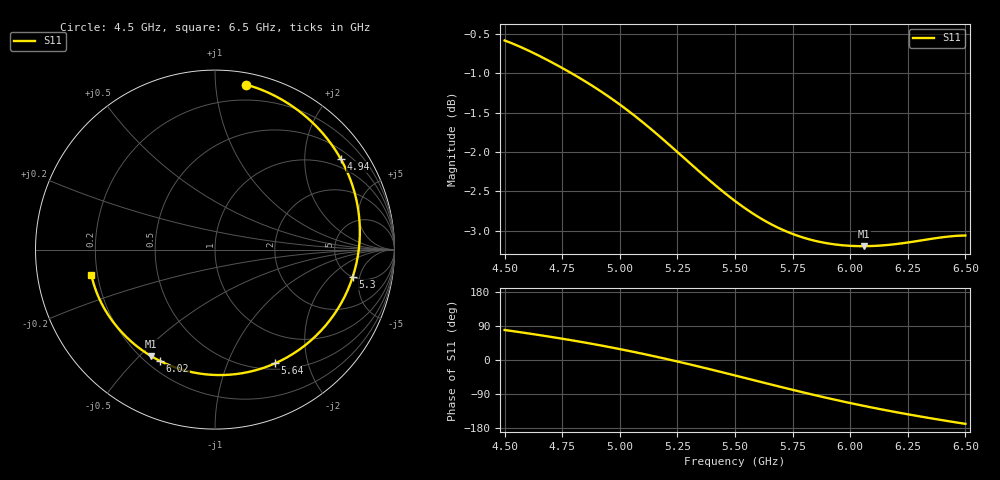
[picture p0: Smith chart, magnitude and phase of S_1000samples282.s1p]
! TOUCHSTONE file generated by CST MICROWAVE STUDIO
! Date and time: Thu Oct 27 15:09:04 2022
! Project name: L.cst
! Parameters = {Di=1.27; Epsilon_r=1.56; InnerDiameter=1.27; Length=2; Lf=10; Lg=60; OuterConductorThickness=0.2921; OuterDiameter=3.6; Wf=3; Wp=41.2; de=1.5; df=6.8; g=0.8; gx=2.81087; gy=1.82389; h=2.34; hf=1.524; px=10.5279; py=9.01351; w=9.7; wx=7.71708; wy=7.18962}
! Header version: 2018
! Port assignment regex: !\s*Touchstone port\s*([0-9]+)\s*=\s*(CST MWS port|CST DS port)\s*([0-9]+|Zmin|Zmax)\s*\(\"(.*)\"\)(\s*mode\s*([0-9]+))?.*
! Touchstone port assignment:
! Touchstone port 1 = CST MWS port 1 ("")
# GHz S DB R 50
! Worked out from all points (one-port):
!   101 points, 4.5 GHz to 6.5 GHz, reference 50 ohm
!   lowest |S11| = -3.2 dB at 6.06 GHz (marker M1), VSWR 5.49, Z = 11.9 - j27 ohm
!   |S11| at or under -10 dB: nowhere
!   S11 on the Smith chart (normalised r, x): 4.5 GHz: 0.08, +1.21; 4.94 GHz: 0.74, +2.93; 5.3 GHz: 5.08, -3.93; 5.64 GHz: 0.58, -1.50; 6.02 GHz: 0.25, -0.59; 6.5 GHz: 0.18, -0.10
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4.5  -0.58 79.2
4.58  -0.68 72.2
4.64  -0.76 66.8
4.76  -0.95 55.2
4.84  -1.08 46.9
4.94  -1.27 35.8
5  -1.40 28.7
5.08  -1.58 18.8
5.14  -1.72 11.1
5.2  -1.87 3.0
5.26  -2.03 -5.4
5.3  -2.13 -11.1
5.4  -2.39 -25.7
5.5  -2.62 -40.8
5.58  -2.79 -53.0
5.64  -2.89 -62.2
5.7  -2.98 -71.2
5.76  -3.05 -80.2
5.82  -3.11 -88.9
5.88  -3.15 -97.4
5.94  -3.18 -105.6
6  -3.19 -113.6
6.02  -3.20 -116.1
6.06  -3.20 -121.2
6.16  -3.18 -133.2
6.26  -3.15 -144.3
6.38  -3.09 -156.8
6.5  -3.06 -168.5
